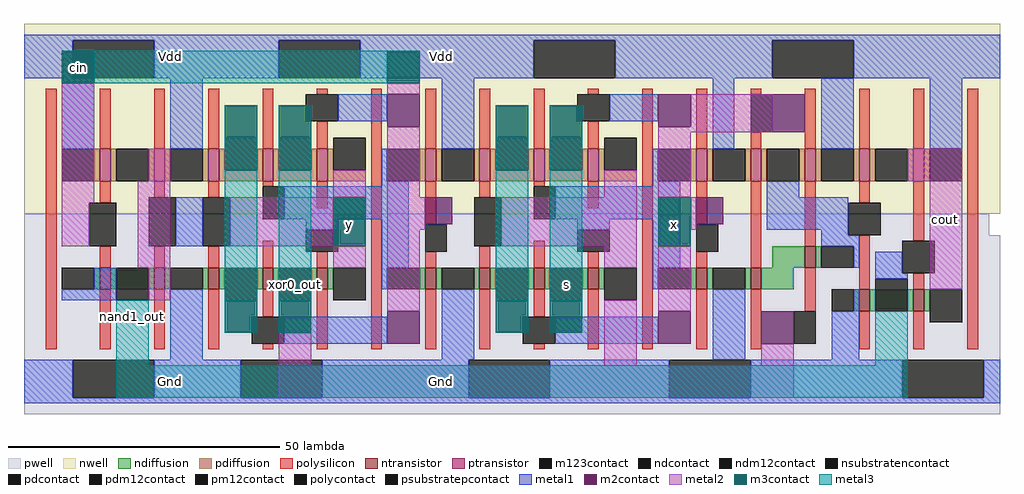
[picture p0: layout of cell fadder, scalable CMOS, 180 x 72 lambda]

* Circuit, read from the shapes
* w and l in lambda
.subckt fadder Gnd Vdd cin cout nand1_out s x xor0_out y
M1 n1 cin nand1_out Gnd nfet w=4 l=2
M2 Gnd y n1 Gnd nfet w=4 l=2
M3 n2 y Gnd Gnd nfet w=4 l=2
M4 xor0_out cin n2 Gnd nfet w=4 l=2
M5 y n3 xor0_out Gnd nfet w=4 l=2
M6 Gnd cin n3 Gnd nfet w=4 l=2
M7 n4 xor0_out Gnd Gnd nfet w=4 l=2
M8 s x n4 Gnd nfet w=4 l=2
M9 xor0_out n5 s Gnd nfet w=4 l=2
M10 Gnd x n5 Gnd nfet w=4 l=2
M11 n6 x Gnd Gnd nfet w=4 l=2
M12 n7 xor0_out n6 Gnd nfet w=4 l=2
M13 n8 n7 Gnd Gnd nfet w=4 l=2
M14 cout nand1_out n8 Gnd nfet w=4 l=2
M15 nand1_out cin Vdd Vdd pfet w=6 l=2
M16 Vdd y nand1_out Vdd pfet w=6 l=2
M17 n2 y Vdd Vdd pfet w=6 l=2
M18 xor0_out n3 n2 Vdd pfet w=6 l=2
M19 y cin xor0_out Vdd pfet w=6 l=2
M20 Vdd cin n3 Vdd pfet w=6 l=2
M21 n4 xor0_out Vdd Vdd pfet w=6 l=2
M22 s n5 n4 Vdd pfet w=6 l=2
M23 xor0_out x s Vdd pfet w=6 l=2
M24 Vdd x n5 Vdd pfet w=6 l=2
M25 n7 x Vdd Vdd pfet w=6 l=2
M26 Vdd xor0_out n7 Vdd pfet w=6 l=2
M27 cout n7 Vdd Vdd pfet w=6 l=2
M28 Vdd nand1_out cout Vdd pfet w=6 l=2
.ends

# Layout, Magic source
magic
tech scmos
<< nwell >>
rect -24 39 156 74
<< pwell >>
rect -24 35 154 39
rect -24 2 156 35
<< ntransistor >>
rect -10 25 -8 29
rect 0 25 2 29
rect 10 25 12 29
rect 20 25 22 29
rect 30 25 32 29
rect 50 25 52 29
rect 60 25 62 29
rect 70 25 72 29
rect 80 25 82 29
rect 120 29 122 33
rect 100 25 102 29
rect 110 25 112 29
rect 130 21 132 25
rect 140 21 142 25
<< ptransistor >>
rect -10 45 -8 51
rect 0 45 2 51
rect 10 45 12 51
rect 20 45 22 51
rect 30 45 32 51
rect 50 45 52 51
rect 60 45 62 51
rect 70 45 72 51
rect 80 45 82 51
rect 100 45 102 51
rect 110 45 112 51
rect 120 45 122 51
rect 130 45 132 51
rect 140 45 142 51
<< ndiffusion >>
rect -11 25 -10 29
rect -8 25 0 29
rect 2 25 3 29
rect 9 25 10 29
rect 12 25 13 29
rect 19 25 20 29
rect 22 25 23 29
rect 29 25 30 29
rect 32 25 33 29
rect 49 25 50 29
rect 52 25 53 29
rect 59 25 60 29
rect 62 25 63 29
rect 69 25 70 29
rect 72 25 73 29
rect 79 25 80 29
rect 82 25 83 29
rect 114 29 120 33
rect 122 29 123 33
rect 99 25 100 29
rect 102 25 103 29
rect 109 25 110 29
rect 112 25 118 29
rect 129 21 130 25
rect 132 21 140 25
rect 142 21 143 25
<< pdiffusion >>
rect -11 45 -10 51
rect -8 45 -7 51
rect -1 45 0 51
rect 2 45 3 51
rect 9 45 10 51
rect 12 47 13 51
rect 19 47 20 51
rect 12 45 20 47
rect 22 47 23 51
rect 29 47 30 51
rect 22 45 30 47
rect 32 47 33 51
rect 32 45 39 47
rect 49 45 50 51
rect 52 45 53 51
rect 59 45 60 51
rect 62 47 63 51
rect 69 47 70 51
rect 62 45 70 47
rect 72 47 73 51
rect 79 47 80 51
rect 72 45 80 47
rect 82 47 83 51
rect 82 45 89 47
rect 99 45 100 51
rect 102 45 103 51
rect 109 45 110 51
rect 112 45 113 51
rect 119 45 120 51
rect 122 45 123 51
rect 129 45 130 51
rect 132 45 133 51
rect 139 45 140 51
rect 142 45 143 51
<< ndcontact >>
rect -17 25 -11 29
rect 3 25 9 29
rect 43 25 49 29
rect 53 25 59 29
rect 123 29 129 33
rect 93 25 99 29
rect 103 25 109 29
rect 125 21 129 25
<< pdcontact >>
rect -17 45 -11 51
rect 3 45 9 51
rect 43 45 49 51
rect 53 45 59 51
rect 93 45 99 51
rect 103 45 109 51
rect 113 45 119 51
rect 123 45 129 51
rect 143 45 149 51
<< psubstratepcontact >>
rect -15 5 0 12
rect 16 5 31 12
rect 58 5 73 12
rect 95 5 110 12
rect 138 5 153 12
<< nsubstratencontact >>
rect -15 64 0 71
rect 23 64 38 71
rect 70 64 85 71
rect 114 64 129 71
<< polysilicon >>
rect -20 14 -18 62
rect -10 51 -8 62
rect 0 51 2 62
rect 10 51 12 62
rect 20 51 22 62
rect 30 61 32 62
rect 30 51 32 56
rect -10 41 -8 45
rect 0 42 2 45
rect 10 42 12 45
rect 20 44 22 45
rect 30 40 32 45
rect -10 29 -8 33
rect 0 29 2 33
rect 10 29 12 33
rect 20 29 22 34
rect 30 29 32 32
rect -10 14 -8 25
rect 0 14 2 25
rect 10 14 12 25
rect 20 20 22 25
rect 20 14 22 15
rect 30 14 32 25
rect 40 14 42 62
rect 50 51 52 62
rect 60 51 62 62
rect 70 51 72 62
rect 80 61 82 62
rect 80 51 82 56
rect 50 37 52 45
rect 60 42 62 45
rect 70 44 72 45
rect 80 40 82 45
rect 50 29 52 32
rect 60 29 62 33
rect 70 29 72 34
rect 80 29 82 32
rect 50 14 52 25
rect 60 14 62 25
rect 70 20 72 25
rect 70 14 72 15
rect 80 14 82 25
rect 90 14 92 62
rect 100 51 102 62
rect 110 61 112 62
rect 110 51 112 54
rect 120 51 122 62
rect 130 51 132 62
rect 140 51 142 62
rect 100 37 102 45
rect 100 29 102 32
rect 110 29 112 45
rect 120 33 122 45
rect 130 41 132 45
rect 100 14 102 25
rect 110 14 112 25
rect 120 21 122 29
rect 130 25 132 35
rect 140 34 142 45
rect 140 25 142 28
rect 130 14 132 21
rect 140 14 142 21
rect 150 14 152 62
<< polycontact >>
rect 28 56 34 61
rect -1 33 4 42
rect 20 38 24 44
rect 28 32 34 36
rect 18 15 24 20
rect 78 56 84 61
rect 50 32 54 37
rect 70 38 74 44
rect 78 32 84 36
rect 68 15 74 20
rect 110 54 114 61
rect 100 32 104 37
rect 128 35 134 41
rect 138 28 144 34
rect 118 15 122 21
<< metal1 >>
rect -24 71 156 72
rect -24 64 -15 71
rect 0 64 23 71
rect 38 64 70 71
rect 85 64 114 71
rect 129 64 156 71
rect -17 51 -11 64
rect 3 51 9 64
rect 34 56 43 61
rect 53 51 59 64
rect 84 56 93 61
rect 42 45 43 51
rect 103 51 107 64
rect 123 51 129 64
rect 143 51 149 64
rect 92 45 93 51
rect 42 44 47 45
rect 92 44 97 45
rect 4 33 9 42
rect 24 38 47 44
rect 28 36 34 38
rect 42 29 47 38
rect 74 38 97 44
rect 113 42 119 45
rect 78 36 84 38
rect 92 29 97 38
rect 113 36 128 42
rect 123 35 128 36
rect 123 33 130 35
rect 129 29 130 33
rect -11 25 -7 29
rect -17 23 -7 25
rect 3 12 9 25
rect 42 25 43 29
rect 24 15 43 20
rect 53 12 59 25
rect 92 25 93 29
rect 133 28 138 32
rect 133 27 139 28
rect 74 15 93 20
rect 103 12 109 25
rect 129 21 130 25
rect 125 12 130 21
rect -24 5 -15 12
rect 0 5 16 12
rect 31 5 58 12
rect 73 5 95 12
rect 110 5 138 12
rect 153 5 156 12
rect -24 4 156 5
<< m2contact >>
rect 43 55 49 61
rect 93 55 99 61
rect 114 54 120 61
rect 50 37 55 42
rect 100 37 105 42
rect 43 15 49 21
rect 93 15 99 21
rect 112 15 118 21
<< pm12contact >>
rect -12 33 -7 41
rect 9 33 14 42
rect 59 33 64 42
<< pdm12contact >>
rect -7 45 -1 51
rect 13 47 19 53
rect 23 47 29 53
rect 33 47 39 53
rect 63 47 69 53
rect 73 47 79 53
rect 83 47 89 53
rect 133 45 139 51
<< ndm12contact >>
rect 13 23 19 29
rect 23 23 29 29
rect 33 23 39 29
rect 63 23 69 29
rect 73 23 79 29
rect 83 23 89 29
rect 143 19 149 25
<< metal2 >>
rect -17 41 -11 63
rect 43 61 49 63
rect -1 45 3 51
rect -17 33 -12 41
rect -3 29 3 45
rect 33 42 39 47
rect 14 33 33 42
rect 33 29 39 33
rect -1 23 3 29
rect 43 42 49 55
rect 99 55 114 61
rect 93 54 114 55
rect 83 42 89 47
rect 43 36 50 42
rect 23 11 29 17
rect 43 21 49 36
rect 64 33 89 42
rect 83 29 89 33
rect 83 11 89 23
rect 93 42 99 54
rect 139 45 149 51
rect 99 36 100 42
rect 93 21 99 33
rect 143 25 149 45
rect 112 11 118 15
rect 23 5 118 11
<< m3contact >>
rect -17 63 -11 69
rect 43 63 49 69
rect 13 53 19 59
rect 23 53 29 59
rect 33 33 39 42
rect 13 17 19 23
rect 63 53 69 59
rect 73 53 79 59
rect 23 17 29 23
rect 63 17 69 23
rect 73 17 79 23
rect 93 33 99 42
<< m123contact >>
rect -7 23 -1 29
rect 133 21 139 27
<< metal3 >>
rect -11 63 43 69
rect -7 11 -1 23
rect 13 23 19 53
rect 23 23 29 53
rect 63 23 69 53
rect 73 23 79 53
rect 133 11 139 21
rect -7 5 139 11
<< labels >>
rlabel metal1 3 68 3 68 4 Vdd
rlabel metal1 3 8 3 8 2 Gnd
rlabel metal1 53 68 53 68 4 Vdd
rlabel metal1 53 8 53 8 2 Gnd
rlabel metal2 146 38 146 38 1 cout
rlabel metal3 76 26 76 26 1 s
rlabel metal3 26 26 26 26 1 xor0_out
rlabel metal3 -4 20 -4 20 1 nand1_out
rlabel m3contact -14 66 -14 66 1 cin
rlabel m3contact 36 37 36 37 1 y
rlabel m3contact 96 37 96 37 1 x
<< end >>
